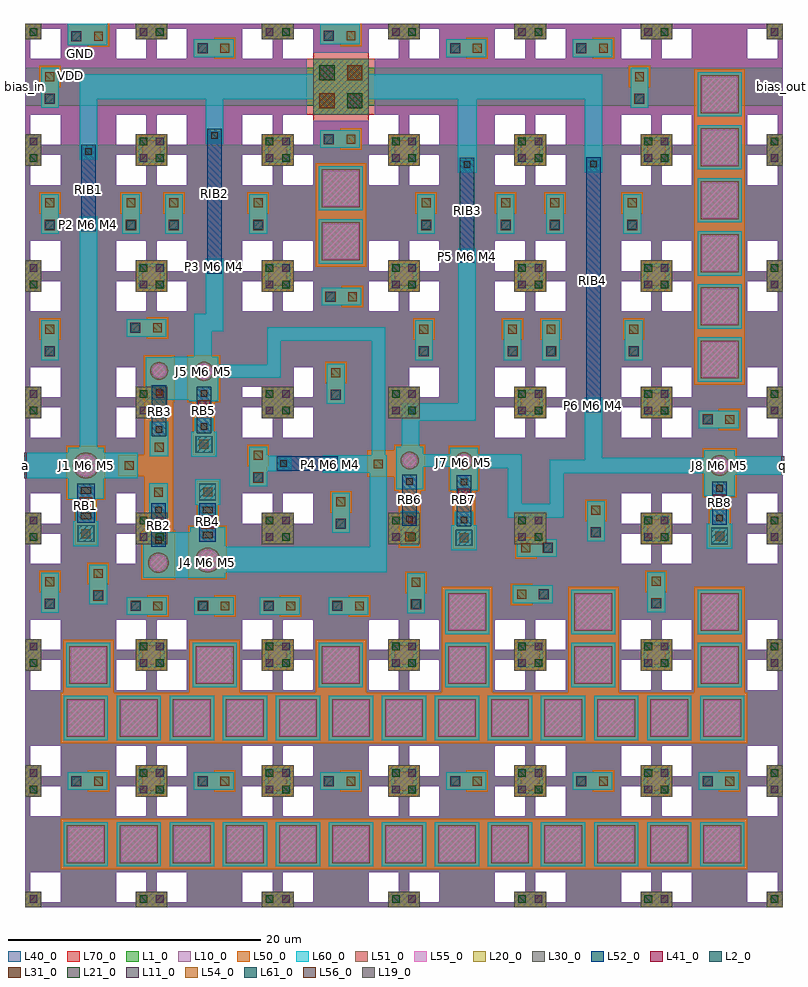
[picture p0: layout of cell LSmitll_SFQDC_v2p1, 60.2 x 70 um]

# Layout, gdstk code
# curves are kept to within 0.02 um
from math import pi, radians
import gdstk
lib = gdstk.Library(unit=1e-6, precision=1e-09)
def R(c, l, rs):  # rectangles x0, y0, x1, y1
    for r in rs: c.add(gdstk.rectangle(r[:2], r[2:], *l))
def A(c, l, x, y, w, h, nx, ny, dx, dy):  # array of equal rectangles
    R(c, l, [(x+i*dx, y+j*dy, x+i*dx+w, y+j*dy+h) for i in range(nx) for j in range(ny)])
def P(c, l, *ps):  # polygons
    for p in ps: c.add(gdstk.Polygon(p, *l))
L0_0 = (0, 0)
L1_0 = (1, 0)
L2_0 = (2, 0)
L10_0 = (10, 0)
L11_0 = (11, 0)
L19_0 = (19, 0)
L20_0 = (20, 0)
L21_0 = (21, 0)
L30_0 = (30, 0)
L31_0 = (31, 0)
L40_0 = (40, 0)
L41_0 = (41, 0)
L50_0 = (50, 0)
L51_0 = (51, 0)
L52_0 = (52, 0)
L54_0 = (54, 0)
L55_0 = (55, 0)
L56_0 = (56, 0)
L60_0 = (60, 0)
L61_0 = (61, 0)
L70_0 = (70, 0)

ls_tr_m0 = lib.new_cell('ls_tr_M0')
P(ls_tr_m0, L1_0, [(0,0),(0,10),(1.25,10),(1.25,8.75),(0.4,8.75),(0.4,1.25),(1.25,1.25),(1.25,0.4),(2.8,0.4),(2.8,2.8),(0.4,2.8),(0.4,7.2),(2.8,7.2),(2.8,9.6),(1.25,9.6),(1.25,10),(7.2,10),(7.2,0.4),(8.75,0.4),(8.75,1.25),(9.6,1.25),(9.6,2.8),(7.2,2.8),(7.2,7.2),(9.6,7.2),(9.6,8.75),(8.75,8.75),(8.75,9.6),(7.2,9.6),(7.2,10),(10,10),(10,0)])

ls_tr_m7 = lib.new_cell('ls_tr_M7')
P(ls_tr_m7, L70_0, [(0,0),(0,10),(1.25,10),(1.25,8.75),(0.4,8.75),(0.4,1.25),(1.25,1.25),(1.25,0.4),(2.8,0.4),(2.8,2.8),(0.4,2.8),(0.4,7.2),(2.8,7.2),(2.8,9.6),(1.25,9.6),(1.25,10),(7.2,10),(7.2,0.4),(8.75,0.4),(8.75,1.25),(9.6,1.25),(9.6,2.8),(7.2,2.8),(7.2,7.2),(9.6,7.2),(9.6,8.75),(8.75,8.75),(8.75,9.6),(7.2,9.6),(7.2,10),(10,10),(10,0)])

ls_tr_u_m4_alt = lib.new_cell('ls_tr_u_M4_alt')
R(ls_tr_u_m4_alt, L1_0, [(0,0,1.25,1.25), (8.75,0,10,1.25), (0,8.75,1.25,10), (8.75,8.75,10,10)])
R(ls_tr_u_m4_alt, L2_0, [(9.05,0.35,9.65,0.95), (0.35,9.05,0.95,9.65)])
R(ls_tr_u_m4_alt, L10_0, [(0,0,1.25,1.25), (1.25,0,8.75,0.4), (8.75,0,10,1.25), (2.8,0.4,7.2,9.6), (0,1.25,0.4,8.75), (9.6,1.25,10,8.75), (0.4,2.8,2.8,7.2), (7.2,2.8,9.6,7.2), (0,8.75,1.25,10), (8.75,8.75,10,10), (1.25,9.6,8.75,10)])
R(ls_tr_u_m4_alt, L11_0, [(0.35,0.35,0.95,0.95), (9.05,9.05,9.65,9.65)])
R(ls_tr_u_m4_alt, L20_0, [(0,0,1.25,1.25), (8.75,0,10,1.25), (0,8.75,1.25,10), (8.75,8.75,10,10)])
R(ls_tr_u_m4_alt, L21_0, [(9.05,0.35,9.65,0.95), (0.35,9.05,0.95,9.65)])
R(ls_tr_u_m4_alt, L30_0, [(0,0,1.25,1.25), (8.75,0,10,1.25), (0,8.75,1.25,10), (8.75,8.75,10,10)])
R(ls_tr_u_m4_alt, L31_0, [(0.35,0.35,0.95,0.95), (9.05,9.05,9.65,9.65)])
P(ls_tr_u_m4_alt, L40_0, [(0,0),(0,10),(1.25,10),(1.25,8.75),(0.4,8.75),(0.4,1.25),(1.25,1.25),(1.25,0.4),(2.8,0.4),(2.8,2.8),(0.4,2.8),(0.4,7.2),(2.8,7.2),(2.8,9.6),(1.25,9.6),(1.25,10),(7.2,10),(7.2,0.4),(8.75,0.4),(8.75,1.25),(9.6,1.25),(9.6,2.8),(7.2,2.8),(7.2,7.2),(9.6,7.2),(9.6,8.75),(8.75,8.75),(8.75,9.6),(7.2,9.6),(7.2,10),(10,10),(10,0)])
ls_tr_u_m4_alt.add(gdstk.Reference(ls_tr_m7, (0,0)))

ls_fakejj_3umx3um = lib.new_cell('ls_FakeJJ_3umx3um')
R(ls_fakejj_3umx3um, L40_0, [(-2,-2,2,2)])
R(ls_fakejj_3umx3um, L50_0, [(-2,-2,2,2)])
R(ls_fakejj_3umx3um, L51_0, [(-1.5,-1.5,1.5,1.5)])
R(ls_fakejj_3umx3um, L55_0, [(-1.4,-1.4,1.4,1.4)])
R(ls_fakejj_3umx3um, L60_0, [(-1.75,-1.75,1.75,1.75)])

ls_fakejj_1p5x1p5um = lib.new_cell('ls_FakeJJ_1p5x1p5um')
R(ls_fakejj_1p5x1p5um, L40_0, [(-1.25,-1.25,1.25,1.25)])
R(ls_fakejj_1p5x1p5um, L50_0, [(-1.25,-1.25,1.25,1.25)])
R(ls_fakejj_1p5x1p5um, L51_0, [(-0.75,-0.75,0.75,0.75)])
R(ls_fakejj_1p5x1p5um, L55_0, [(-0.65,-0.65,0.65,0.65)])
R(ls_fakejj_1p5x1p5um, L60_0, [(-1,-1,1,1)])

ls_conn_m5m6 = lib.new_cell('ls_conn_M5M6')
R(ls_conn_m5m6, L50_0, [(0,0,1.7,1.7)])
R(ls_conn_m5m6, L54_0, [(0.5,0.5,1.2,1.2)])
R(ls_conn_m5m6, L60_0, [(0.15,0.15,1.55,1.55)])

ls_conn_m5m6m7 = lib.new_cell('ls_conn_M5M6M7')
R(ls_conn_m5m6m7, L50_0, [(-0.5,-0.5,1.2,1.2)])
R(ls_conn_m5m6m7, L54_0, [(0,0,0.7,0.7)])
R(ls_conn_m5m6m7, L60_0, [(-0.65,-0.65,1.35,1.35)])
R(ls_conn_m5m6m7, L61_0, [(-0.3,-0.3,1,1)])
R(ls_conn_m5m6m7, L70_0, [(-0.65,-0.65,1.35,1.35)])

ls_jj_200_sg = lib.new_cell('ls_jj_200_sg')
R(ls_jj_200_sg, L41_0, [(-0.5,2.325,0.5,3.325)])
R(ls_jj_200_sg, L50_0, [(-1.35,-1.35,1.35,2.525), (-0.875,2.525,0.875,6.45)])
P(ls_jj_200_sg, L51_0, [(0,-0.815),(-0.315,-0.755),(-0.58,-0.575),(-0.755,-0.31),(-0.815,0),(-0.755,0.315),(-0.58,0.58),(-0.315,0.76),(0,0.82),(0.315,0.76),(0.58,0.58),(0.755,0.315),(0.815,0),(0.755,-0.31),(0.58,-0.575),(0.315,-0.755)])
R(ls_jj_200_sg, L52_0, [(-0.575,1.275,0.575,4.7)])
P(ls_jj_200_sg, L55_0, [(0,-0.67),(-0.27,-0.62),(-0.37,-0.56),(-0.57,-0.37),(-0.67,-0.13),(-0.67,0.13),(-0.57,0.37),(-0.27,0.61),(0,0.67),(0.27,0.61),(0.47,0.47),(0.57,0.37),(0.67,0.13),(0.67,-0.13),(0.57,-0.37),(0.27,-0.62)])
R(ls_jj_200_sg, L56_0, [(-0.26,1.54,0.26,2.06), (-0.26,3.91,0.26,4.43)])
R(ls_jj_200_sg, L60_0, [(-1.2,-1.2,1.2,2.425), (-0.725,3.525,0.725,6.3)])
ls_jj_200_sg.add(gdstk.Reference(ls_conn_m5m6m7, (-0.35,5.25)))

ls_conn_m4m5m6m7 = lib.new_cell('ls_conn_M4M5M6M7')
R(ls_conn_m4m5m6m7, L40_0, [(0,0,1.4,1.4)])
R(ls_conn_m4m5m6m7, L41_0, [(0.3,0.3,1.1,1.1)])
P(ls_conn_m4m5m6m7, L50_0, [(1.6,-0.15),(1.6,0),(0,0),(0,1.4),(1.6,1.4),(1.6,1.55),(3.3,1.55),(3.3,-0.15)])
R(ls_conn_m4m5m6m7, L54_0, [(2.1,0.35,2.8,1.05)])
R(ls_conn_m4m5m6m7, L60_0, [(0,0,3.15,1.4)])
R(ls_conn_m4m5m6m7, L61_0, [(0.35,0.35,1.05,1.05)])
R(ls_conn_m4m5m6m7, L70_0, [(0,0,1.4,1.4)])

ls_jj_325_sg = lib.new_cell('ls_jj_325_sg')
R(ls_jj_325_sg, L41_0, [(-0.5,2.525,0.5,3.525)])
R(ls_jj_325_sg, L50_0, [(-1.55,-1.55,1.55,2.725), (-0.875,2.725,0.875,6.275)])
P(ls_jj_325_sg, L51_0, [(0,-1.035),(-0.2,-1.015),(-0.395,-0.955),(-0.575,-0.86),(-0.73,-0.73),(-0.86,-0.575),(-0.955,-0.395),(-1.015,-0.2),(-1.035,0),(-1.015,0.2),(-0.955,0.395),(-0.86,0.575),(-0.73,0.73),(-0.575,0.86),(-0.395,0.955),(-0.2,1.015),(0,1.035),(0.2,1.015),(0.395,0.955),(0.575,0.86),(0.73,0.73),(0.86,0.575),(0.955,0.395),(1.015,0.2),(1.035,0),(1.015,-0.2),(0.955,-0.395),(0.86,-0.575),(0.73,-0.73),(0.575,-0.86),(0.395,-0.955),(0.2,-1.015)])
R(ls_jj_325_sg, L52_0, [(-0.7,1.45,0.7,4.525)])
R(ls_jj_325_sg, L54_0, [(-0.35,5.05,0.35,5.75)])
P(ls_jj_325_sg, L55_0, [(0,-0.88),(-0.34,-0.81),(-0.63,-0.62),(-0.74,-0.49),(-0.82,-0.33),(-0.89,0.01),(-0.82,0.34),(-0.74,0.5),(-0.63,0.63),(-0.34,0.82),(0,0.89),(0.34,0.82),(0.63,0.63),(0.74,0.5),(0.82,0.34),(0.89,0.01),(0.82,-0.33),(0.74,-0.49),(0.63,-0.62),(0.34,-0.81)])
R(ls_jj_325_sg, L56_0, [(-0.42,1.73,0.42,2.25), (-0.42,3.73,0.42,4.25)])
R(ls_jj_325_sg, L60_0, [(-1.4,-1.4,1.4,2.625), (-0.8,3.35,0.8,6.125)])
ls_jj_325_sg.add(gdstk.Reference(ls_conn_m5m6m7, (-0.35,5.05)))

ls_res_5p74 = lib.new_cell('ls_res_5p74')
R(ls_res_5p74, L52_0, [(-0.575,0,0.575,4.825)])
R(ls_res_5p74, L56_0, [(-0.26,0.29,0.26,0.81), (-0.26,4.02,0.26,4.54)])
R(ls_res_5p74, L60_0, [(-0.625,-0.1,0.625,1.175), (-0.625,3.65,0.625,4.925)])

ls_jj_150_s = lib.new_cell('ls_jj_150_s')
R(ls_jj_150_s, L50_0, [(-1.225,-1.225,1.225,2.4), (-0.875,2.4,0.875,6.925)])
P(ls_jj_150_s, L51_0, [(0,-0.71),(-0.27,-0.655),(-0.505,-0.5),(-0.66,-0.27),(-0.71,0),(-0.66,0.275),(-0.505,0.505),(-0.27,0.66),(0,0.715),(0.27,0.66),(0.505,0.505),(0.66,0.275),(0.71,0),(0.66,-0.27),(0.505,-0.5),(0.27,-0.655)])
R(ls_jj_150_s, L52_0, [(-0.575,1.125,0.575,5.175)])
R(ls_jj_150_s, L54_0, [(-0.35,5.7,0.35,6.4)])
P(ls_jj_150_s, L55_0, [(0,-0.56),(-0.23,-0.52),(-0.4,-0.41),(-0.52,-0.21),(-0.56,0),(-0.52,0.22),(-0.4,0.4),(-0.23,0.52),(0,0.56),(0.23,0.52),(0.4,0.4),(0.52,0.22),(0.56,0),(0.52,-0.21),(0.4,-0.41),(0.23,-0.52)])
R(ls_jj_150_s, L56_0, [(-0.26,1.41,0.26,1.93), (-0.26,4.39,0.26,4.91)])
R(ls_jj_150_s, L60_0, [(-1.075,-1.075,1.075,2.3), (-0.725,4.025,0.725,6.775)])

ls_jj_150_sg = lib.new_cell('ls_jj_150_sg')
R(ls_jj_150_sg, L41_0, [(-0.5,2.2,0.5,3.2)])
R(ls_jj_150_sg, L50_0, [(-1.225,-1.225,1.225,2.4), (-0.875,2.4,0.875,6.925)])
P(ls_jj_150_sg, L51_0, [(0,-0.71),(-0.27,-0.655),(-0.505,-0.5),(-0.66,-0.27),(-0.71,0),(-0.66,0.275),(-0.505,0.505),(-0.27,0.66),(0,0.715),(0.27,0.66),(0.505,0.505),(0.66,0.275),(0.71,0),(0.66,-0.27),(0.505,-0.5),(0.27,-0.655)])
R(ls_jj_150_sg, L52_0, [(-0.575,1.125,0.575,5.175)])
P(ls_jj_150_sg, L55_0, [(0,-0.56),(-0.23,-0.52),(-0.4,-0.41),(-0.52,-0.21),(-0.56,0),(-0.52,0.22),(-0.4,0.4),(-0.23,0.52),(0,0.56),(0.23,0.52),(0.4,0.4),(0.52,0.22),(0.56,0),(0.52,-0.21),(0.4,-0.41),(0.23,-0.52)])
R(ls_jj_150_sg, L56_0, [(-0.26,1.41,0.26,1.93), (-0.26,4.39,0.26,4.91)])
R(ls_jj_150_sg, L60_0, [(-1.075,-1.075,1.075,2.3), (-0.725,4.025,0.725,6.775)])
ls_jj_150_sg.add(gdstk.Reference(ls_conn_m5m6m7, (-0.35,5.725)))

ls_ib_220 = lib.new_cell('ls_ib_220')
R(ls_ib_220, L52_0, [(-0.575,0,0.575,8.325)])
R(ls_ib_220, L56_0, [(-0.26,0.29,0.26,0.81), (-0.26,7.52,0.26,8.04)])
R(ls_ib_220, L60_0, [(-0.625,-0.1,0.625,1.175), (-0.625,7.15,0.625,8.425)])

ls_ib_080 = lib.new_cell('ls_ib_080')
R(ls_ib_080, L52_0, [(-0.575,0,0.575,20.2)])
R(ls_ib_080, L56_0, [(-0.26,0.29,0.26,0.81), (-0.26,19.41,0.26,19.93)])
R(ls_ib_080, L60_0, [(-0.625,-0.1,0.625,1.175), (-0.625,19.025,0.625,20.3)])

ls_jj_175_sg = lib.new_cell('ls_jj_175_sg')
R(ls_jj_175_sg, L41_0, [(-0.5,2.275,0.5,3.275)])
R(ls_jj_175_sg, L50_0, [(-1.3,-1.3,1.3,2.45), (-0.875,2.45,0.875,6.65)])
P(ls_jj_175_sg, L51_0, [(0,-0.765),(-0.295,-0.705),(-0.54,-0.54),(-0.71,-0.29),(-0.765,0),(-0.71,0.295),(-0.54,0.545),(-0.295,0.71),(0,0.77),(0.295,0.71),(0.54,0.545),(0.71,0.295),(0.765,0),(0.71,-0.29),(0.54,-0.54),(0.295,-0.705)])
R(ls_jj_175_sg, L52_0, [(-0.575,1.2,0.575,4.9)])
R(ls_jj_175_sg, L54_0, [(-0.35,5.425,0.35,6.125)])
P(ls_jj_175_sg, L55_0, [(0,-0.62),(-0.24,-0.57),(-0.44,-0.44),(-0.57,-0.24),(-0.62,0),(-0.57,0.23),(-0.44,0.43),(-0.24,0.57),(0,0.61),(0.24,0.57),(0.44,0.43),(0.57,0.23),(0.62,0),(0.57,-0.24),(0.44,-0.44),(0.24,-0.57)])
R(ls_jj_175_sg, L56_0, [(-0.26,1.47,0.26,1.99), (-0.26,4.09,0.26,4.61)])
R(ls_jj_175_sg, L60_0, [(-1.15,-1.15,1.15,2.35), (-0.725,3.725,0.725,6.5)])
ls_jj_175_sg.add(gdstk.Reference(ls_conn_m5m6m7, (-0.35,5.425)))

ls_tr_bias_pillar_m0m6 = lib.new_cell('ls_tr_bias_pillar_M0M6')
R(ls_tr_bias_pillar_m0m6, L1_0, [(0,0,1.25,1.25), (8.75,0,10,1.25), (2.8,2.8,7.2,7.2), (0,8.75,1.25,10), (8.75,8.75,10,10)])
R(ls_tr_bias_pillar_m0m6, L2_0, [(9.05,0.35,9.65,0.95), (5.5,3.3,6.7,4.5), (3.3,5.5,4.5,6.7), (0.35,9.05,0.95,9.65)])
R(ls_tr_bias_pillar_m0m6, L10_0, [(0,0,1.25,1.25), (8.75,0,10,1.25), (2.8,2.8,7.2,7.2), (0,8.75,1.25,10), (8.75,8.75,10,10)])
P(ls_tr_bias_pillar_m0m6, L10_0, [(0,0),(0,10),(7.2,10),(7.2,7.7),(2.8,7.7),(2.8,9.6),(1.25,9.6),(1.25,8.75),(0.4,8.75),(0.4,7.2),(2.3,7.2),(2.3,2.8),(0.4,2.8),(0.4,1.25),(1.25,1.25),(1.25,0.4),(2.8,0.4),(2.8,2.3),(7.2,2.3),(7.2,0.4),(8.75,0.4),(8.75,1.25),(9.6,1.25),(9.6,2.8),(7.7,2.8),(7.7,7.2),(9.6,7.2),(9.6,8.75),(8.75,8.75),(8.75,9.6),(7.2,9.6),(7.2,10),(10,10),(10,0)])
R(ls_tr_bias_pillar_m0m6, L11_0, [(0.35,0.35,0.95,0.95), (3.3,3.3,4.5,4.5), (5.5,5.5,6.7,6.7), (9.05,9.05,9.65,9.65)])
R(ls_tr_bias_pillar_m0m6, L20_0, [(0,0,1.25,1.25), (8.75,0,10,1.25), (2.8,2.8,7.2,7.2), (0,8.75,1.25,10), (8.75,8.75,10,10)])
R(ls_tr_bias_pillar_m0m6, L21_0, [(9.05,0.35,9.65,0.95), (5.5,3.3,6.7,4.5), (3.3,5.5,4.5,6.7), (0.35,9.05,0.95,9.65)])
R(ls_tr_bias_pillar_m0m6, L30_0, [(0,0,1.25,1.25), (8.75,0,10,1.25), (2.8,2.8,7.2,7.2), (0,8.75,1.25,10), (8.75,8.75,10,10)])
R(ls_tr_bias_pillar_m0m6, L31_0, [(0.35,0.35,0.95,0.95), (3.3,3.3,4.5,4.5), (5.5,5.5,6.7,6.7), (9.05,9.05,9.65,9.65)])
R(ls_tr_bias_pillar_m0m6, L40_0, [(2.8,2.8,7.2,7.2)])
P(ls_tr_bias_pillar_m0m6, L40_0, [(0,0),(0,10),(7.2,10),(7.2,7.7),(2.8,7.7),(2.8,9.6),(1.25,9.6),(1.25,8.75),(0.4,8.75),(0.4,7.2),(2.3,7.2),(2.3,2.8),(0.4,2.8),(0.4,1.25),(1.25,1.25),(1.25,0.4),(2.8,0.4),(2.8,2.3),(7.2,2.3),(7.2,0.4),(8.75,0.4),(8.75,1.25),(9.6,1.25),(9.6,2.8),(7.7,2.8),(7.7,7.2),(9.6,7.2),(9.6,8.75),(8.75,8.75),(8.75,9.6),(7.2,9.6),(7.2,10),(10,10),(10,0)])
R(ls_tr_bias_pillar_m0m6, L41_0, [(5.5,3.3,6.7,4.5), (3.3,5.5,4.5,6.7)])
R(ls_tr_bias_pillar_m0m6, L50_0, [(2.8,2.8,7.2,7.2)])
R(ls_tr_bias_pillar_m0m6, L54_0, [(3.3,3.3,4.5,4.5), (5.5,5.5,6.7,6.7)])
R(ls_tr_bias_pillar_m0m6, L60_0, [(2.8,2.8,7.2,7.2)])
P(ls_tr_bias_pillar_m0m6, L70_0, [(0,0),(0,10),(1.25,10),(1.25,8.75),(0.4,8.75),(0.4,1.25),(1.25,1.25),(1.25,0.4),(2.8,0.4),(2.8,2.8),(0.4,2.8),(0.4,7.2),(2.8,7.2),(2.8,9.6),(1.25,9.6),(1.25,10),(7.2,10),(7.2,0.4),(8.75,0.4),(8.75,1.25),(9.6,1.25),(9.6,2.8),(7.2,2.8),(7.2,7.2),(9.6,7.2),(9.6,8.75),(8.75,8.75),(8.75,9.6),(7.2,9.6),(7.2,10),(10,10),(10,0)])

ls_ib_280 = lib.new_cell('ls_ib_280')
R(ls_ib_280, L52_0, [(-0.575,0,0.575,6.85)])
R(ls_ib_280, L56_0, [(-0.26,0.29,0.26,0.81), (-0.26,6.06,0.26,6.58)])
R(ls_ib_280, L60_0, [(-0.625,-0.1,0.625,1.175), (-0.625,5.675,0.625,6.95)])

ls_ib_150 = lib.new_cell('ls_ib_150')
R(ls_ib_150, L52_0, [(-0.575,0,0.575,11.475)])
R(ls_ib_150, L56_0, [(-0.26,0.29,0.26,0.81), (-0.26,10.69,0.26,11.21)])
R(ls_ib_150, L60_0, [(-0.625,-0.1,0.625,1.175), (-0.625,10.3,0.625,11.575)])

ls_jj_300_sg = lib.new_cell('ls_jj_300_sg')
R(ls_jj_300_sg, L41_0, [(-0.5,2.5,0.5,3.5)])
R(ls_jj_300_sg, L50_0, [(-1.525,-1.525,1.525,2.725), (-0.875,2.725,0.875,6.275)])
P(ls_jj_300_sg, L51_0, [(0,-0.995),(-0.38,-0.92),(-0.705,-0.705),(-0.92,-0.38),(-0.995,0),(-0.92,0.38),(-0.705,0.705),(-0.38,0.92),(0,0.995),(0.38,0.92),(0.705,0.705),(0.92,0.38),(0.995,0),(0.92,-0.38),(0.705,-0.705),(0.38,-0.92)])
R(ls_jj_300_sg, L52_0, [(-0.65,1.45,0.65,4.525)])
R(ls_jj_300_sg, L54_0, [(-0.35,5.05,0.35,5.75)])
P(ls_jj_300_sg, L55_0, [(0,-0.85),(-0.32,-0.79),(-0.6,-0.6),(-0.78,-0.33),(-0.85,-0.01),(-0.78,0.32),(-0.6,0.59),(-0.32,0.78),(0,0.84),(0.32,0.78),(0.6,0.59),(0.78,0.32),(0.85,-0.01),(0.78,-0.33),(0.6,-0.6),(0.32,-0.79)])
R(ls_jj_300_sg, L56_0, [(-0.39,1.72,0.39,2.24), (-0.39,3.73,0.39,4.25)])
R(ls_jj_300_sg, L60_0, [(-1.375,-1.375,1.375,2.625), (-0.75,3.35,0.75,6.125)])
ls_jj_300_sg.add(gdstk.Reference(ls_conn_m5m6m7, (-0.35,5.05)))

ls_jj_200_s = lib.new_cell('ls_jj_200_s')
R(ls_jj_200_s, L50_0, [(-1.35,-1.35,1.35,2.525), (-0.875,2.525,0.875,6.45)])
P(ls_jj_200_s, L51_0, [(0,-0.815),(-0.315,-0.755),(-0.58,-0.575),(-0.755,-0.31),(-0.815,0),(-0.755,0.315),(-0.58,0.58),(-0.315,0.76),(0,0.82),(0.315,0.76),(0.58,0.58),(0.755,0.315),(0.815,0),(0.755,-0.31),(0.58,-0.575),(0.315,-0.755)])
R(ls_jj_200_s, L52_0, [(-0.575,1.275,0.575,4.7)])
R(ls_jj_200_s, L54_0, [(-0.35,5.225,0.35,5.925)])
P(ls_jj_200_s, L55_0, [(0,-0.67),(-0.27,-0.62),(-0.37,-0.56),(-0.57,-0.37),(-0.67,-0.13),(-0.67,0.13),(-0.57,0.37),(-0.27,0.61),(0,0.67),(0.27,0.61),(0.47,0.47),(0.57,0.37),(0.67,0.13),(0.67,-0.13),(0.57,-0.37),(0.27,-0.62)])
R(ls_jj_200_s, L56_0, [(-0.26,1.54,0.26,2.06), (-0.26,3.91,0.26,4.43)])
R(ls_jj_200_s, L60_0, [(-1.2,-1.2,1.2,2.425), (-0.725,3.525,0.725,6.3)])

lsmitll_sfqdc_v2p1 = lib.new_cell('LSmitll_SFQDC_v2p1')
R(lsmitll_sfqdc_v2p1, L1_0, [(8.75,27.2,12.8,32.8), (17.2,27.2,22.8,29.6), (27.2,27.2,29.6,32.8), (30.4,27.2,32.8,32.8), (37.2,27.2,42.8,29.6), (37.2,30.4,42.8,32.8), (8.75,37.2,12.8,42.8), (27.2,37.2,29.6,42.8), (30.4,37.2,32.8,39.6), (17.2,41.25,21.25,42.8), (1.25,60,58.75,60.4)])
R(lsmitll_sfqdc_v2p1, L10_0, [(8.75,27.2,12.8,32.8), (17.2,27.2,22.8,29.6), (27.2,27.2,29.6,32.8), (30.4,27.2,32.8,32.8), (37.2,27.2,42.8,29.6), (37.2,30.4,42.8,32.8), (8.75,37.2,12.8,42.8), (27.2,37.2,29.6,42.8), (30.4,37.2,32.8,39.6), (17.2,41.25,21.25,42.8)])
R(lsmitll_sfqdc_v2p1, L19_0, [(23.94,34.89,24.46,35.41), (44.74,39.49,45.26,40.01), (14.74,50.49,15.26,51.01), (34.74,51.34,35.26,51.86), (4.74,53.84,5.26,54.36)])
R(lsmitll_sfqdc_v2p1, L40_0, [(8.75,27.2,12.8,32.8), (17.2,27.2,22.8,29.6), (27.2,27.2,29.6,32.8), (30.4,27.2,32.8,32.8), (37.2,27.2,42.8,29.6), (37.2,30.4,42.8,32.8), (8.75,37.2,12.8,42.8), (27.2,37.2,29.6,42.8), (30.4,37.2,32.8,39.6), (17.2,41.25,21.25,42.8)])
A(lsmitll_sfqdc_v2p1, L50_0, 6.8, 3, 0.2, 4, 12, 2, 4.2, 10)
A(lsmitll_sfqdc_v2p1, L50_0, 3, 17, 4, 0.2, 6, 1, 10, 0)
A(lsmitll_sfqdc_v2p1, L50_0, 33, 21.2, 4, 0.2, 3, 1, 10, 0)
A(lsmitll_sfqdc_v2p1, L50_0, 53, 45.4, 4, 0.2, 1, 5, 0, 4.2)
R(lsmitll_sfqdc_v2p1, L50_0, [(27.1,34.125,29.225,36.2), (23,54.75,27,54.95), (3.35,69.7,6.65,70), (23.35,69.75,26.65,70)])
R(lsmitll_sfqdc_v2p1, L60_0, [(11.75,26.1,13.075,29.725), (15.65,26.55,28.65,28.55), (27.3,26.55,28.65,34.45), (23.575,34.425,27.25,35.825), (19.05,34.525,19.875,35.775), (31.4,34.9,33.7,35.875), (27.45,35.825,28.5,45.95), (11.65,40.225,13.125,43.6), (15.15,41.95,20.225,43), (19.15,41.95,20.225,44.9), (19.15,44.9,28.5,45.95), (3.35,69.7,6.5,70), (23.35,69.75,26.5,70)])
R(lsmitll_sfqdc_v2p1, L70_0, [(8.75,27.2,12.8,32.8), (17.2,27.2,22.8,29.6), (27.2,27.2,29.6,32.8), (30.4,27.2,32.8,32.8), (37.2,27.2,42.8,29.6), (37.2,30.4,42.8,32.8), (8.75,37.2,12.8,42.8), (27.2,37.2,29.6,42.8), (30.4,37.2,32.8,39.6), (17.2,41.25,21.25,42.8)])
lsmitll_sfqdc_v2p1.add(gdstk.FlexPath([(30.525,36.475),(30.525,39.25),(35,39.25),(35,52.225)], 1.4, ends="flush", simple_path=True, layer=60, datatype=0))  # L60_0
lsmitll_sfqdc_v2p1.add(gdstk.FlexPath([(35,64),(35,58.2)], 1.5, ends="flush", simple_path=True, layer=60, datatype=0))  # L60_0
lsmitll_sfqdc_v2p1.add(gdstk.FlexPath([(15,64),(15,60.5)], 1.4, ends="flush", simple_path=True, layer=60, datatype=0))  # L60_0
lsmitll_sfqdc_v2p1.add(gdstk.FlexPath([(5,64),(5,59.225)], 1.4, ends="flush", simple_path=True, layer=60, datatype=0))  # L60_0
lsmitll_sfqdc_v2p1.add(gdstk.FlexPath([(45.7,65),(4.3,65)], 2, ends="flush", simple_path=True, layer=60, datatype=0))  # L60_0
lsmitll_sfqdc_v2p1.add(gdstk.FlexPath([(45,65.7),(45,58.225)], 1.4, ends="flush", simple_path=True, layer=60, datatype=0))  # L60_0
lsmitll_sfqdc_v2p1.add(gdstk.FlexPath([(5,36.325),(5,54.725)], 1.4, ends="flush", simple_path=True, layer=60, datatype=0))  # L60_0
lsmitll_sfqdc_v2p1.add(gdstk.FlexPath([(14.075,43.55),(14.075,46.325),(15,46.325),(15,51.375)], 1.4, ends="flush", simple_path=True, layer=60, datatype=0))  # L60_0
lsmitll_sfqdc_v2p1.add(gdstk.FlexPath([(45.65,34.925),(42.1,34.925),(42.1,31.425),(38.775,31.425),(38.775,35.35),(35.65,35.35)], 1.1, ends="flush", simple_path=True, layer=60, datatype=0))  # L60_0
lsmitll_sfqdc_v2p1.add(gdstk.FlexPath([(45,34.925),(45,40.375)], 1.4, ends="flush", simple_path=True, layer=60, datatype=0))  # L60_0
lsmitll_sfqdc_v2p1.add(gdstk.FlexPath([(53.875,35),(45,35)], 1.25, ends="flush", simple_path=True, layer=60, datatype=0))  # L60_0
lsmitll_sfqdc_v2p1.add(gdstk.FlexPath([(56.175,35),(60,35)], 1.5, ends="flush", simple_path=True, layer=60, datatype=0))  # L60_0
lsmitll_sfqdc_v2p1.add(gdstk.FlexPath([(0,35),(3.825,35)], 2, ends="flush", simple_path=True, layer=60, datatype=0))  # L60_0
lsmitll_sfqdc_v2p1.add(gdstk.FlexPath([(6.075,35),(8.925,35)], 2, ends="flush", simple_path=True, layer=60, datatype=0))  # L60_0
lsmitll_sfqdc_v2p1.add(gdstk.FlexPath([(7.75,35),(11.25,35)], 1.7, ends="flush", simple_path=True, layer=50, datatype=0))  # L50_0
lsmitll_sfqdc_v2p1.add(gdstk.FlexPath([(10.575,34.15),(10.575,43.75)], 2.3, ends="flush", simple_path=True, layer=50, datatype=0))  # L50_0
lsmitll_sfqdc_v2p1.add(gdstk.FlexPath([(10.575,35.85),(10.575,25.95)], 2.3, ends="flush", simple_path=True, layer=50, datatype=0))  # L50_0
lsmitll_sfqdc_v2p1.add(gdstk.FlexPath([(0,65),(60,65)], 3, ends="flush", simple_path=True, layer=1, datatype=0))  # L1_0
lsmitll_sfqdc_v2p1.add(gdstk.FlexPath([(60,35.75),(60,34.25)], 0.2, ends="flush", simple_path=True, layer=19, datatype=0))  # L19_0
lsmitll_sfqdc_v2p1.add(gdstk.FlexPath([(0,36),(0,34)], 0.2, ends="flush", simple_path=True, layer=19, datatype=0))  # L19_0
lsmitll_sfqdc_v2p1.add(gdstk.FlexPath([(0,0),(0,0)], 0, ends="flush", simple_path=True, layer=0, datatype=0))  # L0_0
r = gdstk.Reference(ls_tr_m0, (0,0)); r.repetition = gdstk.Repetition(6, 6, v1=(10,0), v2=(0,10)); lsmitll_sfqdc_v2p1.add(r)
r = gdstk.Reference(ls_tr_u_m4_alt, (0,0)); r.repetition = gdstk.Repetition(6, 6, v1=(10,0), v2=(0,10)); lsmitll_sfqdc_v2p1.add(r)
lsmitll_sfqdc_v2p1.add(gdstk.Reference(ls_fakejj_3umx3um, (30,5)))
lsmitll_sfqdc_v2p1.add(gdstk.Reference(ls_fakejj_3umx3um, (30,15)))
lsmitll_sfqdc_v2p1.add(gdstk.Reference(ls_fakejj_1p5x1p5um, (30,20)))
lsmitll_sfqdc_v2p1.add(gdstk.Reference(ls_fakejj_1p5x1p5um, (30,60)))
lsmitll_sfqdc_v2p1.add(gdstk.Reference(ls_conn_m5m6, (7.375,34.15)))
lsmitll_sfqdc_v2p1.add(gdstk.Reference(ls_conn_m5m6, (27.1,34.275)))
lsmitll_sfqdc_v2p1.add(gdstk.Reference(ls_jj_200_sg, (55,35), rotation=pi))
lsmitll_sfqdc_v2p1.add(gdstk.Reference(ls_conn_m4m5m6m7, (19.15,33.35), rotation=pi/2))
lsmitll_sfqdc_v2p1.add(gdstk.Reference(ls_jj_325_sg, (4.8,35), rotation=pi))
lsmitll_sfqdc_v2p1.add(gdstk.Reference(ls_res_5p74, (24.75,35.15), rotation=pi/2))
lsmitll_sfqdc_v2p1.add(gdstk.Reference(ls_jj_150_s, (30.45,35.4), rotation=pi))
lsmitll_sfqdc_v2p1.add(gdstk.Reference(ls_jj_150_sg, (34.75,35.35), rotation=pi))
lsmitll_sfqdc_v2p1.add(gdstk.Reference(ls_fakejj_1p5x1p5um, (30,10)))
lsmitll_sfqdc_v2p1.add(gdstk.Reference(ls_fakejj_1p5x1p5um, (30,50)))
lsmitll_sfqdc_v2p1.add(gdstk.Reference(ls_tr_u_m4_alt, (50,60)))
lsmitll_sfqdc_v2p1.add(gdstk.Reference(ls_conn_m4m5m6m7, (32.275,43.35), rotation=pi/2))
lsmitll_sfqdc_v2p1.add(gdstk.Reference(ls_conn_m4m5m6m7, (39.3,43.35), rotation=pi/2))
lsmitll_sfqdc_v2p1.add(gdstk.Reference(ls_conn_m4m5m6m7, (42.35,43.35), rotation=pi/2))
lsmitll_sfqdc_v2p1.add(gdstk.Reference(ls_conn_m4m5m6m7, (48.9,43.35), rotation=pi/2))
lsmitll_sfqdc_v2p1.add(gdstk.Reference(ls_conn_m4m5m6m7, (53.35,37.95)))
lsmitll_sfqdc_v2p1.add(gdstk.Reference(ls_conn_m4m5m6m7, (32.45,53.35), rotation=pi/2))
lsmitll_sfqdc_v2p1.add(gdstk.Reference(ls_conn_m4m5m6m7, (38.75,53.35), rotation=pi/2))
lsmitll_sfqdc_v2p1.add(gdstk.Reference(ls_conn_m4m5m6m7, (42.65,53.35), rotation=pi/2))
lsmitll_sfqdc_v2p1.add(gdstk.Reference(ls_conn_m4m5m6m7, (48.775,53.35), rotation=pi/2))
lsmitll_sfqdc_v2p1.add(gdstk.Reference(ls_conn_m4m5m6m7, (49.35,63.35), rotation=pi/2))
lsmitll_sfqdc_v2p1.add(gdstk.Reference(ls_conn_m4m5m6m7, (33.35,67.35)))
lsmitll_sfqdc_v2p1.add(gdstk.Reference(ls_tr_u_m4_alt, (30,60)))
lsmitll_sfqdc_v2p1.add(gdstk.Reference(ls_fakejj_1p5x1p5um, (40,60)))
lsmitll_sfqdc_v2p1.add(gdstk.Reference(ls_fakejj_1p5x1p5um, (50,60)))
lsmitll_sfqdc_v2p1.add(gdstk.Reference(ls_tr_u_m4_alt, (40,60)))
lsmitll_sfqdc_v2p1.add(gdstk.Reference(ls_ib_220, (35,51.05)))
lsmitll_sfqdc_v2p1.add(gdstk.Reference(ls_ib_080, (45,39.2)))
lsmitll_sfqdc_v2p1.add(gdstk.Reference(ls_fakejj_3umx3um, (55,64.4)))
lsmitll_sfqdc_v2p1.add(gdstk.Reference(ls_fakejj_3umx3um, (55,60.2)))
lsmitll_sfqdc_v2p1.add(gdstk.Reference(ls_fakejj_3umx3um, (55,56)))
lsmitll_sfqdc_v2p1.add(gdstk.Reference(ls_fakejj_3umx3um, (55,51.8)))
lsmitll_sfqdc_v2p1.add(gdstk.Reference(ls_fakejj_3umx3um, (55,47.6)))
lsmitll_sfqdc_v2p1.add(gdstk.Reference(ls_fakejj_3umx3um, (55,43.4)))
lsmitll_sfqdc_v2p1.add(gdstk.Reference(ls_fakejj_1p5x1p5um, (40,50)))
lsmitll_sfqdc_v2p1.add(gdstk.Reference(ls_fakejj_1p5x1p5um, (50,50)))
lsmitll_sfqdc_v2p1.add(gdstk.Reference(ls_fakejj_1p5x1p5um, (50,40)))
lsmitll_sfqdc_v2p1.add(gdstk.Reference(ls_fakejj_1p5x1p5um, (40,40)))
lsmitll_sfqdc_v2p1.add(gdstk.Reference(ls_conn_m4m5m6m7, (43.35,67.35)))
lsmitll_sfqdc_v2p1.add(gdstk.Reference(ls_conn_m4m5m6m7, (23.35,68.35)))
lsmitll_sfqdc_v2p1.add(gdstk.Reference(ls_tr_u_m4_alt, (10,60)))
lsmitll_sfqdc_v2p1.add(gdstk.Reference(ls_conn_m4m5m6m7, (23.35,60.15)))
lsmitll_sfqdc_v2p1.add(gdstk.Reference(ls_fakejj_1p5x1p5um, (10,60)))
lsmitll_sfqdc_v2p1.add(gdstk.Reference(ls_jj_150_s, (10.6,42.5), rotation=pi))
lsmitll_sfqdc_v2p1.add(gdstk.Reference(ls_jj_175_sg, (14.15,42.45), rotation=pi))
lsmitll_sfqdc_v2p1.add(gdstk.Reference(ls_fakejj_1p5x1p5um, (20,60)))
lsmitll_sfqdc_v2p1.add(gdstk.Reference(ls_tr_u_m4_alt, (0,60)))
lsmitll_sfqdc_v2p1.add(gdstk.Reference(ls_tr_bias_pillar_m0m6, (20,60)))
lsmitll_sfqdc_v2p1.add(gdstk.Reference(ls_conn_m4m5m6m7, (2.65,43.35), rotation=pi/2))
lsmitll_sfqdc_v2p1.add(gdstk.Reference(ls_conn_m4m5m6m7, (2.65,53.35), rotation=pi/2))
lsmitll_sfqdc_v2p1.add(gdstk.Reference(ls_fakejj_3umx3um, (25,56.95)))
lsmitll_sfqdc_v2p1.add(gdstk.Reference(ls_fakejj_3umx3um, (25,52.75)))
lsmitll_sfqdc_v2p1.add(gdstk.Reference(ls_conn_m4m5m6m7, (2.65,63.35), rotation=pi/2))
lsmitll_sfqdc_v2p1.add(gdstk.Reference(ls_conn_m4m5m6m7, (9.075,53.35), rotation=pi/2))
lsmitll_sfqdc_v2p1.add(gdstk.Reference(ls_conn_m4m5m6m7, (12.475,53.35), rotation=pi/2))
lsmitll_sfqdc_v2p1.add(gdstk.Reference(ls_conn_m4m5m6m7, (19.15,53.35), rotation=pi/2))
lsmitll_sfqdc_v2p1.add(gdstk.Reference(ls_ib_280, (5,53.55)))
lsmitll_sfqdc_v2p1.add(gdstk.Reference(ls_ib_150, (15,50.2)))
lsmitll_sfqdc_v2p1.add(gdstk.Reference(ls_conn_m4m5m6m7, (25.3,39.9), rotation=pi/2))
lsmitll_sfqdc_v2p1.add(gdstk.Reference(ls_conn_m4m5m6m7, (8.025,45.2)))
lsmitll_sfqdc_v2p1.add(gdstk.Reference(ls_fakejj_1p5x1p5um, (20,50)))
lsmitll_sfqdc_v2p1.add(gdstk.Reference(ls_fakejj_1p5x1p5um, (10,50)))
lsmitll_sfqdc_v2p1.add(gdstk.Reference(ls_conn_m4m5m6m7, (23.475,47.675)))
lsmitll_sfqdc_v2p1.add(gdstk.Reference(ls_conn_m4m5m6m7, (3.35,68.3)))
lsmitll_sfqdc_v2p1.add(gdstk.Reference(ls_conn_m4m5m6m7, (13.35,67.35)))
lsmitll_sfqdc_v2p1.add(gdstk.Reference(ls_jj_300_sg, (14.45,27.5)))
lsmitll_sfqdc_v2p1.add(gdstk.Reference(ls_fakejj_3umx3um, (4.8,15)))
lsmitll_sfqdc_v2p1.add(gdstk.Reference(ls_fakejj_3umx3um, (13.2,15)))
lsmitll_sfqdc_v2p1.add(gdstk.Reference(ls_fakejj_3umx3um, (9,15)))
lsmitll_sfqdc_v2p1.add(gdstk.Reference(ls_conn_m4m5m6m7, (2.65,23.35), rotation=pi/2))
lsmitll_sfqdc_v2p1.add(gdstk.Reference(ls_fakejj_3umx3um, (17.4,15)))
lsmitll_sfqdc_v2p1.add(gdstk.Reference(ls_fakejj_3umx3um, (21.6,15)))
lsmitll_sfqdc_v2p1.add(gdstk.Reference(ls_conn_m4m5m6m7, (13.375,23.175)))
lsmitll_sfqdc_v2p1.add(gdstk.Reference(ls_fakejj_3umx3um, (25.8,5)))
lsmitll_sfqdc_v2p1.add(gdstk.Reference(ls_fakejj_3umx3um, (25.8,15)))
lsmitll_sfqdc_v2p1.add(gdstk.Reference(ls_fakejj_3umx3um, (21.6,5)))
lsmitll_sfqdc_v2p1.add(gdstk.Reference(ls_fakejj_3umx3um, (17.4,5)))
lsmitll_sfqdc_v2p1.add(gdstk.Reference(ls_fakejj_3umx3um, (9,5)))
lsmitll_sfqdc_v2p1.add(gdstk.Reference(ls_conn_m4m5m6m7, (18.575,23.175)))
lsmitll_sfqdc_v2p1.add(gdstk.Reference(ls_conn_m4m5m6m7, (24.025,23.175)))
lsmitll_sfqdc_v2p1.add(gdstk.Reference(ls_conn_m4m5m6m7, (25.7,29.675), rotation=pi/2))
lsmitll_sfqdc_v2p1.add(gdstk.Reference(ls_fakejj_3umx3um, (5,19.2)))
lsmitll_sfqdc_v2p1.add(gdstk.Reference(ls_fakejj_3umx3um, (15,19.2)))
lsmitll_sfqdc_v2p1.add(gdstk.Reference(ls_fakejj_3umx3um, (25,19.2)))
lsmitll_sfqdc_v2p1.add(gdstk.Reference(ls_fakejj_1p5x1p5um, (10,10)))
lsmitll_sfqdc_v2p1.add(gdstk.Reference(ls_fakejj_1p5x1p5um, (20,10)))
lsmitll_sfqdc_v2p1.add(gdstk.Reference(ls_conn_m4m5m6m7, (8.05,23.175)))
lsmitll_sfqdc_v2p1.add(gdstk.Reference(ls_conn_m4m5m6m7, (23.35,9.3)))
lsmitll_sfqdc_v2p1.add(gdstk.Reference(ls_conn_m4m5m6m7, (13.35,9.3)))
lsmitll_sfqdc_v2p1.add(gdstk.Reference(ls_conn_m4m5m6m7, (3.35,9.3)))
lsmitll_sfqdc_v2p1.add(gdstk.Reference(ls_conn_m4m5m6m7, (6.475,24), rotation=pi/2))
lsmitll_sfqdc_v2p1.add(gdstk.Reference(ls_fakejj_1p5x1p5um, (20,20)))
lsmitll_sfqdc_v2p1.add(gdstk.Reference(ls_fakejj_1p5x1p5um, (10,20)))
lsmitll_sfqdc_v2p1.add(gdstk.Reference(ls_fakejj_3umx3um, (13.2,5)))
lsmitll_sfqdc_v2p1.add(gdstk.Reference(ls_fakejj_3umx3um, (4.8,5)))
lsmitll_sfqdc_v2p1.add(gdstk.Reference(ls_jj_200_s, (10.55,27.3)))
lsmitll_sfqdc_v2p1.add(gdstk.Reference(ls_fakejj_3umx3um, (55.2,5)))
lsmitll_sfqdc_v2p1.add(gdstk.Reference(ls_conn_m4m5m6m7, (41.775,24.1), rotation=pi, x_reflection=True))
lsmitll_sfqdc_v2p1.add(gdstk.Reference(ls_conn_m4m5m6m7, (50.675,23.375), rotation=pi/2))
lsmitll_sfqdc_v2p1.add(gdstk.Reference(ls_fakejj_3umx3um, (55,23.4)))
lsmitll_sfqdc_v2p1.add(gdstk.Reference(ls_fakejj_3umx3um, (55,19.2)))
lsmitll_sfqdc_v2p1.add(gdstk.Reference(ls_fakejj_3umx3um, (55.2,15)))
lsmitll_sfqdc_v2p1.add(gdstk.Reference(ls_fakejj_3umx3um, (51,5)))
lsmitll_sfqdc_v2p1.add(gdstk.Reference(ls_fakejj_3umx3um, (34.2,15)))
lsmitll_sfqdc_v2p1.add(gdstk.Reference(ls_conn_m4m5m6m7, (31.65,23.3), rotation=pi/2))
lsmitll_sfqdc_v2p1.add(gdstk.Reference(ls_fakejj_3umx3um, (35,19.2)))
lsmitll_sfqdc_v2p1.add(gdstk.Reference(ls_fakejj_3umx3um, (35,23.4)))
lsmitll_sfqdc_v2p1.add(gdstk.Reference(ls_fakejj_3umx3um, (45,19.2)))
lsmitll_sfqdc_v2p1.add(gdstk.Reference(ls_fakejj_3umx3um, (45,23.4)))
lsmitll_sfqdc_v2p1.add(gdstk.Reference(ls_fakejj_3umx3um, (38.4,15)))
lsmitll_sfqdc_v2p1.add(gdstk.Reference(ls_fakejj_3umx3um, (46.8,15)))
lsmitll_sfqdc_v2p1.add(gdstk.Reference(ls_fakejj_3umx3um, (42.6,15)))
lsmitll_sfqdc_v2p1.add(gdstk.Reference(ls_fakejj_1p5x1p5um, (40,10)))
lsmitll_sfqdc_v2p1.add(gdstk.Reference(ls_fakejj_1p5x1p5um, (50,10)))
lsmitll_sfqdc_v2p1.add(gdstk.Reference(ls_conn_m4m5m6m7, (33.35,9.3)))
lsmitll_sfqdc_v2p1.add(gdstk.Reference(ls_fakejj_3umx3um, (51,15)))
lsmitll_sfqdc_v2p1.add(gdstk.Reference(ls_fakejj_3umx3um, (42.6,5)))
lsmitll_sfqdc_v2p1.add(gdstk.Reference(ls_conn_m4m5m6m7, (43.35,9.3)))
lsmitll_sfqdc_v2p1.add(gdstk.Reference(ls_conn_m4m5m6m7, (53.35,9.3)))
lsmitll_sfqdc_v2p1.add(gdstk.Reference(ls_fakejj_3umx3um, (46.8,5)))
lsmitll_sfqdc_v2p1.add(gdstk.Reference(ls_fakejj_1p5x1p5um, (50,20)))
lsmitll_sfqdc_v2p1.add(gdstk.Reference(ls_fakejj_1p5x1p5um, (40,20)))
lsmitll_sfqdc_v2p1.add(gdstk.Reference(ls_fakejj_3umx3um, (38.4,5)))
lsmitll_sfqdc_v2p1.add(gdstk.Reference(ls_conn_m4m5m6m7, (45.9,29), rotation=pi/2))
lsmitll_sfqdc_v2p1.add(gdstk.Reference(ls_fakejj_3umx3um, (34.2,5)))
lsmitll_sfqdc_v2p1.add(gdstk.Reference(ls_fakejj_1p5x1p5um, (50,30)))
lsmitll_sfqdc_v2p1.add(gdstk.Reference(ls_conn_m4m5m6m7, (42.1,27.775), rotation=pi, x_reflection=True))
lsmitll_sfqdc_v2p1.add(gdstk.Label('bias_out', (60,65), layer=182, texttype=0))
lsmitll_sfqdc_v2p1.add(gdstk.Label('a', (0,35), layer=182, texttype=0))
lsmitll_sfqdc_v2p1.add(gdstk.Label('q', (60,34.975), layer=182, texttype=0))
lsmitll_sfqdc_v2p1.add(gdstk.Label('bias_in', (0,65), layer=182, texttype=0))
lsmitll_sfqdc_v2p1.add(gdstk.Label('P3 M6 M4', (15,50.75), layer=182, texttype=0))
lsmitll_sfqdc_v2p1.add(gdstk.Label('J5 M6 M5', (14.15,42.475), layer=182, texttype=0))
lsmitll_sfqdc_v2p1.add(gdstk.Label('J3 M5 M6', (10.575,42.425), layer=182, texttype=0))
lsmitll_sfqdc_v2p1.add(gdstk.Label('P5 M6 M4', (35,51.55), layer=182, texttype=0))
lsmitll_sfqdc_v2p1.add(gdstk.Label('P2 M6 M4', (5.025,54.1), layer=182, texttype=0))
lsmitll_sfqdc_v2p1.add(gdstk.Label('P6 M6 M4', (45,39.725), layer=182, texttype=0))
lsmitll_sfqdc_v2p1.add(gdstk.Label('J7 M6 M5', (34.75,35.225), layer=182, texttype=0))
lsmitll_sfqdc_v2p1.add(gdstk.Label('J6 M5 M6', (30.4,35.25), layer=182, texttype=0))
lsmitll_sfqdc_v2p1.add(gdstk.Label('P4 M6 M4', (24.175,35.075), layer=182, texttype=0))
lsmitll_sfqdc_v2p1.add(gdstk.Label('P1 M6 M4', (0.05,35), layer=182, texttype=0))
lsmitll_sfqdc_v2p1.add(gdstk.Label('J1 M6 M5', (4.85,35), layer=182, texttype=0))
lsmitll_sfqdc_v2p1.add(gdstk.Label('J8 M6 M5', (55.025,34.975), layer=182, texttype=0))
lsmitll_sfqdc_v2p1.add(gdstk.Label('P7 M6 M4', (60,35), layer=182, texttype=0))
lsmitll_sfqdc_v2p1.add(gdstk.Label('J4 M6 M5', (14.4,27.325), layer=182, texttype=0))
lsmitll_sfqdc_v2p1.add(gdstk.Label('J2 M5 M6', (10.5,27.2), layer=182, texttype=0))
lsmitll_sfqdc_v2p1.add(gdstk.Label('VDD', (3.56,65.92), layer=1, texttype=1))
lsmitll_sfqdc_v2p1.add(gdstk.Label('GND', (4.37,67.63), layer=40, texttype=1))
lsmitll_sfqdc_v2p1.add(gdstk.Label('a', (0.05,34.08), layer=60, texttype=1))
lsmitll_sfqdc_v2p1.add(gdstk.Label('q', (59.94,34.31), layer=60, texttype=1))
lsmitll_sfqdc_v2p1.add(gdstk.Label('RIB1', (4.98,56.87), layer=52, texttype=1))
lsmitll_sfqdc_v2p1.add(gdstk.Label('RIB2', (14.99,56.54), layer=52, texttype=1))
lsmitll_sfqdc_v2p1.add(gdstk.Label('RIB3', (35.05,55.23), layer=52, texttype=1))
lsmitll_sfqdc_v2p1.add(gdstk.Label('RIB4', (44.93,49.67), layer=52, texttype=1))
lsmitll_sfqdc_v2p1.add(gdstk.Label('RB1', (4.75,31.87), layer=52, texttype=1))
lsmitll_sfqdc_v2p1.add(gdstk.Label('RB2', (10.56,30.22), layer=52, texttype=1))
lsmitll_sfqdc_v2p1.add(gdstk.Label('RB3', (10.64,39.31), layer=52, texttype=1))
lsmitll_sfqdc_v2p1.add(gdstk.Label('RB4', (14.45,30.57), layer=52, texttype=1))
lsmitll_sfqdc_v2p1.add(gdstk.Label('RB5', (14.15,39.34), layer=52, texttype=1))
lsmitll_sfqdc_v2p1.add(gdstk.Label('RB6', (30.44,32.27), layer=52, texttype=1))
lsmitll_sfqdc_v2p1.add(gdstk.Label('RB7', (34.7,32.28), layer=52, texttype=1))
lsmitll_sfqdc_v2p1.add(gdstk.Label('RB8', (54.99,32.04), layer=52, texttype=1))
lsmitll_sfqdc_v2p1.add(gdstk.Label('R1', (22.41,35.19), layer=52, texttype=1))

lib.write_gds('LSmitll_SFQDC_v2p1.gds')
